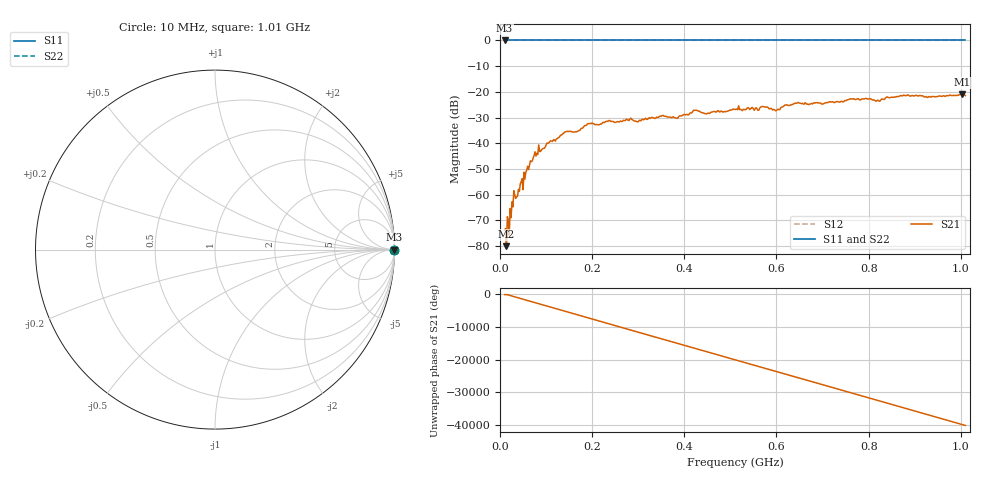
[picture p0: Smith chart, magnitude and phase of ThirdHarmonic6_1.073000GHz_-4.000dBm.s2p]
! 8/16/2025 9:45:18 AM
! C:\ANRITSUVNA\TEMP\TEMP.S2P
! CHANNEL.1
! TR.MEASUREMENT
! RAW.DATA
! RF.CORRECTION.OFF
! AVERAGING.OFF
! IF.BANDWIDTH: 5KHZ
! SWEEPTYPE:  FREQ.SWEEP(Linear)
! Reference Plane Port Info
! PORT:  PORT1  PORT2
! DISTANCE:  0  m  0  m
! TIME:  0  s  0  s
! PHASE.OFFSET:  0  deg.  0  deg.
! LOSS:  0  dB  0  dB
! REF.LOSS:  0  dB  0  dB
! REF.FREQ:  0  Hz  0  Hz
! Power Info
! POWER:  -20  dBm  -20  dBm
! EFF.POWER:  -20  dBm  -20  dBm
! SOURCE.ATTEN:  0  dB  0  dB
! TEST.ATTEN:  0  dB  0  dB
# GHZ S RI R 50.0
! FREQ.GHZ  S11RE  S11IM  S21RE  S21IM  S12RE  S12IM  S22RE  S22IM
!; PortSelection: Port_12
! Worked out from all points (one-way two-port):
!   501 points, 10 MHz to 1.01 GHz, reference 50 ohm
!   highest |S21| = -20.91 dB at 1.002 GHz (marker M1); lowest = -80.0 dB at 14 MHz (marker M2)
!   lowest |S11| = 0.0 dB at 10 MHz (marker M3)
!   |S11| at or under -10 dB: nowhere
!   |S22| runs from 0.0 to 0.0 dB; largest |S21 - S12| = 1.1
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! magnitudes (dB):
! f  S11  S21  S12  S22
! 10 MHz  0.0  -73.7  0.0  0.0
! 14 MHz  0.0  -80.0  0.0  0.0
! 16 MHz  0.0  -68.5  0.0  0.0
! 30 MHz  0.0  -58.4  0.0  0.0
! 38 MHz  0.0  -60.6  0.0  0.0
! 56 MHz  0.0  -51.3  0.0  0.0
! 80 MHz  0.0  -43.9  0.0  0.0
! 142 MHz  0.0  -35.6  0.0  0.0
! 178 MHz  0.0  -34.1  0.0  0.0
! 196 MHz  0.0  -32.3  0.0  0.0
! 344 MHz  0.0  -29.8  0.0  0.0
! 382 MHz  0.0  -30.1  0.0  0.0
! 424 MHz  0.0  -27.1  0.0  0.0
! 450 MHz  0.0  -28.4  0.0  0.0
! 510 MHz  0.0  -26.8  0.0  0.0
! 572 MHz  0.0  -25.7  0.0  0.0
! 602 MHz  0.0  -26.9  0.0  0.0
! 644 MHz  0.0  -24.4  0.0  0.0
! 678 MHz  0.0  -24.7  0.0  0.0
! 844 MHz  0.0  -22.2  0.0  0.0
! 1.002 GHz  0.0  -20.9  0.0  0.0
! 1.01 GHz  0.0  -21.5  0.0  0.0
